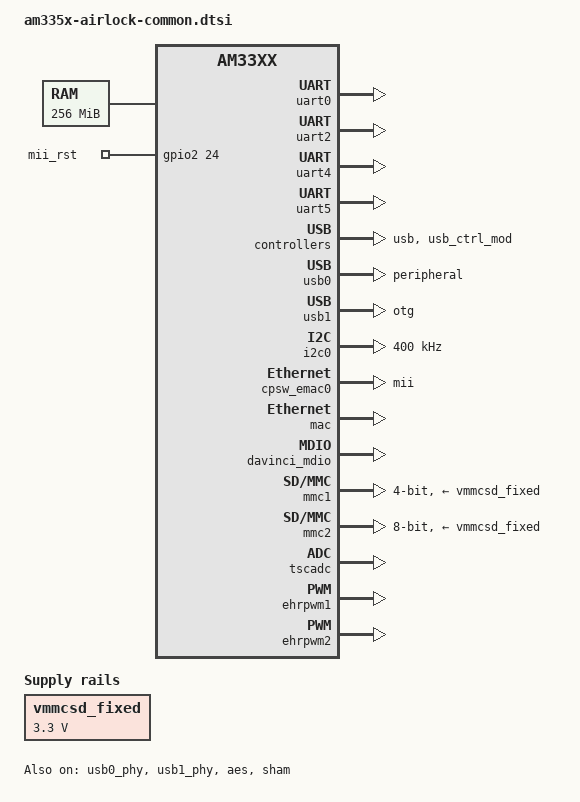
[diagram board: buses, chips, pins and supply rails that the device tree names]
/*
 * Copyright (C) 2012 Texas Instruments Incorporated - http://www.ti.com/
 *
 * This program is free software; you can redistribute it and/or modify
 * it under the terms of the GNU General Public License version 2 as
 * published by the Free Software Foundation.
 */
#include "am33xx.dtsi"

/ {

	memory@80000000 {
		device_type = "memory";
		reg = <0x80000000 0x10000000>; /* 256 MB */
	};

	chosen {
		stdout-path = &uart0;
	};


	vmmcsd_fixed: fixedregulator0 { 
		compatible = "regulator-fixed"; 
		regulator-name = "vmmcsd_fixed"; 
		regulator-min-microvolt = <3300000>; 
		regulator-max-microvolt = <3300000>; 
 	}; 

	leds: user_leds {
		compatible = "gpio-leds";
	};
};

&am33xx_pinmux {
	i2c0_pins: pinmux_i2c0_pins {
		pinctrl-single,pins = <
			AM33XX_IOPAD(0x988, PIN_INPUT_PULLUP | MUX_MODE0)	/* i2c0_sda.i2c0_sda */
			AM33XX_IOPAD(0x98c, PIN_INPUT_PULLUP | MUX_MODE0)	/* i2c0_scl.i2c0_scl */
		>;
	};

	uart0_pins: pinmux_uart0_pins {
		pinctrl-single,pins = <
			AM33XX_IOPAD(0x970, PIN_INPUT_PULLUP | MUX_MODE0)	/* uart0_rxd.uart0_rxd */
			AM33XX_IOPAD(0x974, PIN_OUTPUT_PULLDOWN | MUX_MODE0)	/* uart0_txd.uart0_txd */
		>;
	};

	uart4_pins: pinmux_uart4_pins {
		pinctrl-single,pins = <
			AM33XX_IOPAD(0x968, PIN_INPUT_PULLUP | MUX_MODE0)	/* (E18) uart0_ctsn.uart4_rxd */
			AM33XX_IOPAD(0x96c, PIN_OUTPUT_PULLDOWN | MUX_MODE0)	/* (E17) uart0_rtsn.uart4_txd */
		>;
	};

	uart5_pins: pinmux_uart5_pins {
		pinctrl-single,pins = <
			AM33XX_IOPAD(0x8c4, PIN_INPUT_PULLUP | MUX_MODE0)	/* (U2) lcd_data9.uart5_rxd */
			AM33XX_IOPAD(0x8c0, PIN_OUTPUT_PULLDOWN | MUX_MODE0)	/* (U1) lcd_data8.uart5_txd */
		>;
	};

	leds_pins: pinmux_leds_pins {
		pinctrl-single,pins = <
/*			0x20 (PIN_OUTPUT_PULLUP | MUX_MODE7)   /* (U10) gpmc_ad8.gpio0[22]  - red*/
/*			0x48 (PIN_OUTPUT_PULLUP | MUX_MODE7 ) /* (U14) gpmc_a2.gpio1[18]  - green */
/*			0x4c (PIN_OUTPUT_PULLUP | MUX_MODE7 ) /* (T14) gpmc_a3.gpio1[19]  - blue*/
			0xe8 (PIN_OUTPUT_PULLUP | MUX_MODE7 ) /* */
		>;
	};


	cpsw_default: cpsw_default {
		pinctrl-single,pins = <
			/* Slave 1 */
			0x108 (PIN_INPUT | MUX_MODE0)		/* mii1_col.mii1_col */
			0x10c (PIN_INPUT | MUX_MODE0)		/* mii1_crs.mii1_crs */
			AM33XX_IOPAD(0x910, PIN_INPUT_PULLUP | MUX_MODE0)	/* mii1_rxerr.mii1_rxerr */
			AM33XX_IOPAD(0x914, PIN_OUTPUT_PULLDOWN | MUX_MODE0)	/* mii1_txen.mii1_txen */
			AM33XX_IOPAD(0x918, PIN_INPUT_PULLUP | MUX_MODE0)	/* mii1_rxdv.mii1_rxdv */
			AM33XX_IOPAD(0x91c, PIN_OUTPUT_PULLDOWN | MUX_MODE0)	/* mii1_txd3.mii1_txd3 */
			AM33XX_IOPAD(0x920, PIN_OUTPUT_PULLDOWN | MUX_MODE0)	/* mii1_txd2.mii1_txd2 */
			AM33XX_IOPAD(0x924, PIN_OUTPUT_PULLDOWN | MUX_MODE0)	/* mii1_txd1.mii1_txd1 */
			AM33XX_IOPAD(0x928, PIN_OUTPUT_PULLDOWN | MUX_MODE0)	/* mii1_txd0.mii1_txd0 */
			AM33XX_IOPAD(0x92c, PIN_INPUT_PULLUP | MUX_MODE0)	/* mii1_txclk.mii1_txclk */
			AM33XX_IOPAD(0x930, PIN_INPUT_PULLUP | MUX_MODE0)	/* mii1_rxclk.mii1_rxclk */
			AM33XX_IOPAD(0x934, PIN_INPUT_PULLUP | MUX_MODE0)	/* mii1_rxd3.mii1_rxd3 */
			AM33XX_IOPAD(0x938, PIN_INPUT_PULLUP | MUX_MODE0)	/* mii1_rxd2.mii1_rxd2 */
			AM33XX_IOPAD(0x93c, PIN_INPUT_PULLUP | MUX_MODE0)	/* mii1_rxd1.mii1_rxd1 */
			AM33XX_IOPAD(0x940, PIN_INPUT_PULLUP | MUX_MODE0)	/* mii1_rxd0.mii1_rxd0 */
		>;
	};

	cpsw_sleep: cpsw_sleep {
		pinctrl-single,pins = <
			/* Slave 1 reset value */
			0x108 (PIN_INPUT_PULLDOWN | MUX_MODE7)
			0x10c (PIN_INPUT_PULLDOWN | MUX_MODE7)
			AM33XX_IOPAD(0x910, PIN_INPUT_PULLDOWN | MUX_MODE7)
			AM33XX_IOPAD(0x914, PIN_INPUT_PULLDOWN | MUX_MODE7)
			AM33XX_IOPAD(0x918, PIN_INPUT_PULLDOWN | MUX_MODE7)
			AM33XX_IOPAD(0x91c, PIN_INPUT_PULLDOWN | MUX_MODE7)
			AM33XX_IOPAD(0x920, PIN_INPUT_PULLDOWN | MUX_MODE7)
			AM33XX_IOPAD(0x924, PIN_INPUT_PULLDOWN | MUX_MODE7)
			AM33XX_IOPAD(0x928, PIN_INPUT_PULLDOWN | MUX_MODE7)
			AM33XX_IOPAD(0x92c, PIN_INPUT_PULLDOWN | MUX_MODE7)
			AM33XX_IOPAD(0x930, PIN_INPUT_PULLDOWN | MUX_MODE7)
			AM33XX_IOPAD(0x934, PIN_INPUT_PULLDOWN | MUX_MODE7)
			AM33XX_IOPAD(0x938, PIN_INPUT_PULLDOWN | MUX_MODE7)
			AM33XX_IOPAD(0x93c, PIN_INPUT_PULLDOWN | MUX_MODE7)
			AM33XX_IOPAD(0x940, PIN_INPUT_PULLDOWN | MUX_MODE7)
		>;
	};

	davinci_mdio_default: davinci_mdio_default {
		pinctrl-single,pins = <
			/* MDIO */
			AM33XX_IOPAD(0x948, PIN_INPUT_PULLUP | SLEWCTRL_FAST | MUX_MODE0)	/* mdio_data.mdio_data */
			AM33XX_IOPAD(0x94c, PIN_OUTPUT_PULLUP | MUX_MODE0)			/* mdio_clk.mdio_clk */
		>;
	};

	davinci_mdio_sleep: davinci_mdio_sleep {
		pinctrl-single,pins = <
			/* MDIO reset value */
			AM33XX_IOPAD(0x948, PIN_INPUT_PULLDOWN | MUX_MODE7)
			AM33XX_IOPAD(0x94c, PIN_INPUT_PULLDOWN | MUX_MODE7)
		>;
	};

	emmc_pins: pinmux_emmc_pins {
		pinctrl-single,pins = <
			AM33XX_IOPAD(0x880, PIN_INPUT_PULLUP | MUX_MODE2) /* gpmc_csn1.mmc1_clk */
			AM33XX_IOPAD(0x884, PIN_INPUT_PULLUP | MUX_MODE2) /* gpmc_csn2.mmc1_cmd */
			AM33XX_IOPAD(0x800, PIN_INPUT_PULLUP | MUX_MODE1) /* gpmc_ad0.mmc1_dat0 */
			AM33XX_IOPAD(0x804, PIN_INPUT_PULLUP | MUX_MODE1) /* gpmc_ad1.mmc1_dat1 */
			AM33XX_IOPAD(0x808, PIN_INPUT_PULLUP | MUX_MODE1) /* gpmc_ad2.mmc1_dat2 */
			AM33XX_IOPAD(0x80c, PIN_INPUT_PULLUP | MUX_MODE1) /* gpmc_ad3.mmc1_dat3 */
			AM33XX_IOPAD(0x810, PIN_INPUT_PULLUP | MUX_MODE1) /* gpmc_ad4.mmc1_dat4 */
			AM33XX_IOPAD(0x814, PIN_INPUT_PULLUP | MUX_MODE1) /* gpmc_ad5.mmc1_dat5 */
			AM33XX_IOPAD(0x818, PIN_INPUT_PULLUP | MUX_MODE1) /* gpmc_ad6.mmc1_dat6 */
			AM33XX_IOPAD(0x81c, PIN_INPUT_PULLUP | MUX_MODE1) /* gpmc_ad7.mmc1_dat7 */
		>;
	};

	sd_pins: pinmux_sd_card {
		pinctrl-single,pins = <
			AM33XX_IOPAD(0x8f0, PIN_INPUT_PULLUP | MUX_MODE0)       /* mmc0_dat0.mmc0_dat0 */
			AM33XX_IOPAD(0x8f4, PIN_INPUT_PULLUP | MUX_MODE0)       /* mmc0_dat1.mmc0_dat1 */
			AM33XX_IOPAD(0x8f8, PIN_INPUT_PULLUP | MUX_MODE0)       /* mmc0_dat2.mmc0_dat2 */
			AM33XX_IOPAD(0x8fc, PIN_INPUT_PULLUP | MUX_MODE0)       /* mmc0_dat3.mmc0_dat3 */
			AM33XX_IOPAD(0x900, PIN_INPUT_PULLUP | MUX_MODE0)       /* mmc0_clk.mmc0_clk */
			AM33XX_IOPAD(0x904, PIN_INPUT_PULLUP | MUX_MODE0)       /* mmc0_cmd.mmc0_cmd */
		>;
	};

	uart2_pins: pinmux_uart2_pins {
		pinctrl-single,pins = <
			AM33XX_IOPAD(0x950, PIN_INPUT | MUX_MODE1)      /* spi0_sclk.uart2_rxd_mux3 */
			AM33XX_IOPAD(0x954, PIN_OUTPUT | MUX_MODE1)      /* spi0_d0.uart2_txd_mux3 */
		>;
	};
};

&uart0 {
	pinctrl-names = "default";
	pinctrl-0 = <&uart0_pins>;
	status = "okay";
};

&uart2 {
	pinctrl-names = "default";
	pinctrl-0 = <&uart2_pins>;
	status = "okay";
};


&uart4 {
	pinctrl-names = "default";
	pinctrl-0 = <&uart4_pins>;
	status = "okay";
};

&uart5 {
	pinctrl-names = "default";
	pinctrl-0 = <&uart5_pins>;
	status = "okay";
};


&usb {
	status = "okay";
};

&usb_ctrl_mod {
	status = "okay";
};

&usb0_phy {
	status = "okay";
};

&usb1_phy {
	status = "okay";
};

&usb0 {
	status = "okay";
	dr_mode = "peripheral";
};

&usb1 {
	status = "okay";
	dr_mode = "otg";
};

&cppi41dma  {
	status = "okay";
};

&i2c0 {
	pinctrl-names = "default";
	pinctrl-0 = <&i2c0_pins>;

	status = "okay";
	clock-frequency = <400000>;
};



&cpsw_emac0 {
	phy_id = <&davinci_mdio>, <1>;
	phy-mode = "mii";
	status = "okay";
};

&mac {
	slaves = <1>; 
	pinctrl-names = "default", "sleep";
	pinctrl-0 = <&cpsw_default>;
	pinctrl-1 = <&cpsw_sleep>;
	status = "okay";
};

&davinci_mdio {
	pinctrl-names = "default", "sleep";
	pinctrl-0 = <&davinci_mdio_default>;
	pinctrl-1 = <&davinci_mdio_sleep>;
	status = "okay";
	bus_freq = <1000000>;
};

&mmc1 {
	/* Bootable SD card slot */
	status = "okay";
	vmmc-supply = <&vmmcsd_fixed>;
	bus-width = <4>;
	pinctrl-names = "default";
	pinctrl-0 = <&sd_pins>;
/*	cd-gpios = <&gpio0 6 GPIO_ACTIVE_LOW>; */
};

&mmc2 {
	/* emmc */
	status = "okay";
	vmmc-supply = <&vmmcsd_fixed>;
	bus-width = <8>;
	pinctrl-names = "default";
	pinctrl-0 = <&emmc_pins>;
/*	cd-gpios = <&gpio0 6 GPIO_ACTIVE_LOW>; */
};

&aes {
	status = "okay";
};

&sham {
	status = "okay";
};

&tscadc {
	status = "okay";
	adc {
		ti,adc-channels = <0 1 2 3 4 5 6 7>;
	};
};

&ehrpwm1 {
	status = "okay";
};

&ehrpwm2 {
	status = "okay";
};

&rtc {
	clocks = <&clk_32768_ck>, <&clkdiv32k_ick>;
	clock-names = "ext-clk", "int-clk";
	system-power-controller;
};


&leds {
	pinctrl-names = "default";
	pinctrl-0 = <&leds_pins>;
	led0 {
		label = "mii_rst";
		gpios = <&gpio2 24 GPIO_ACTIVE_HIGH>; 
		linux,default-trigger = "none"; 
		default-state = "on"; 
	}; 
};              

   

